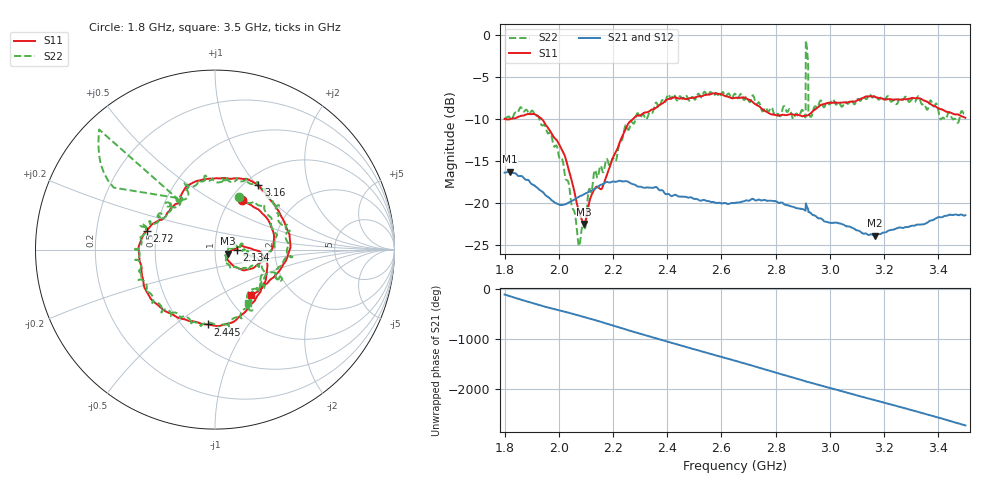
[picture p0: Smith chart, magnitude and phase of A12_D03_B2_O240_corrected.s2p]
! Created with skrf 1.9.0 (http://scikit-rf.org).
# Hz S RI R 50.0
!freq ReS11 ImS11 ReS21 ImS21 ReS12 ImS12 ReS22 ImS22
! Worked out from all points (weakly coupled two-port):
!   1601 points, 1.8 GHz to 3.5 GHz, reference 50 ohm
!   highest |S21| = -16.27 dB at 1.818 GHz (marker M1); lowest = -23.9 dB at 3.165 GHz (marker M2)
!   lowest |S11| = -22.5 dB at 2.093 GHz (marker M3), VSWR 1.16, Z = 57.7 - j2.58 ohm
!   |S11| at or under -10 dB: 1.802 GHz to 1.82 GHz (18.54 MHz wide, 1.02 % of centre); 1.938 GHz to 2.273 GHz (335.7 MHz wide, 15.9 % of centre)
!   |S22| runs from -25.1 to -0.6 dB; largest |S21 - S12| = 0.0026
!   S11 on the Smith chart (normalised r, x): 1.8 GHz: 1.13, +0.70; 2.134 GHz: 1.28, +0.00; 2.445 GHz: 0.66, -0.66; 2.72 GHz: 0.44, +0.11; 3.16 GHz: 1.15, +1.02; 3.5 GHz: 1.27, -0.72
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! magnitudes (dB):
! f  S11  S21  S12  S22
! 1.8 GHz  -10.0  -16.4  -16.4  -9.8
! 1.818 GHz  -10.0  -16.3  -16.3  -9.7
! 1.968 GHz  -11.4  -19.5  -19.5  -11.6
! 2.022 GHz  -14.4  -20.2  -20.1  -16.6
! 2.072 GHz  -20.7  -19.3  -19.3  -24.8
! 2.084 GHz  -21.9  -19.1  -19.1  -23.2
! 2.093 GHz  -22.5  -18.9  -19.0  -22.8
! 2.134 GHz  -18.2  -18.3  -18.3  -16.1
! 2.259 GHz  -10.4  -17.5  -17.5  -11.2
! 2.367 GHz  -8.4  -18.3  -18.3  -8.6
! 2.445 GHz  -7.6  -19.2  -19.2  -7.3
! 2.65 GHz  -7.5  -20.0  -19.9  -7.0
! 2.72 GHz  -8.1  -19.6  -19.5  -7.4
! 2.869 GHz  -9.5  -20.5  -20.5  -9.8
! 2.902 GHz  -9.7  -20.7  -20.7  -9.1
! 2.911 GHz  -9.6  -20.0  -20.0  -0.6
! 2.92 GHz  -9.5  -20.7  -20.7  -3.6
! 2.934 GHz  -9.2  -21.3  -21.3  -9.6
! 3.16 GHz  -7.3  -23.8  -23.8  -7.4
! 3.165 GHz  -7.3  -23.9  -23.8  -7.2
! 3.217 GHz  -7.6  -23.3  -23.2  -7.4
! 3.5 GHz  -9.8  -21.4  -21.4  -9.1
